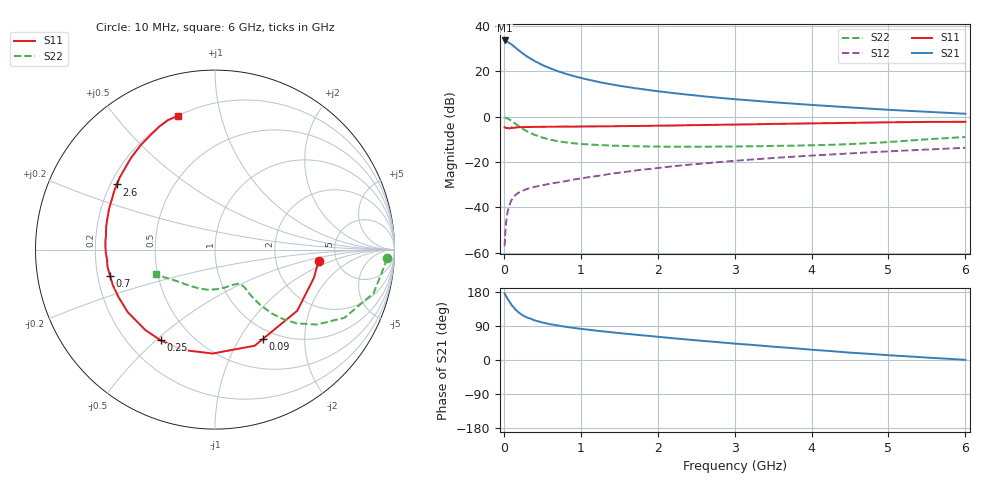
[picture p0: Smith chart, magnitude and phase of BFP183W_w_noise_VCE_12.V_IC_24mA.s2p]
! (c) 2017  Infineon Technologies AG, Munich
! Infineon Technologies  Discrete & RF Semiconductors
! BFP183W
! VCE =  12. V,  IC =  24 mA
! Common Emitter S-Parameters:  Jan 2017
# GHz  S  MA  R  50
!  f  S11  S21  S12  S22
! GHz  MAG  ANG  MAG  ANG  MAG  ANG  MAG  ANG
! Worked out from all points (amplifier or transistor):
!   77 points, 10 MHz to 6 GHz, reference 50 ohm
!   highest |S21| = 33.6 dB at 10 MHz (marker M1)
!   |S21| within 3 dB of that: start of sweep to 144.5 MHz
!   unconditionally stable (mu >= 1): 1.18 GHz to 3.623 GHz
!   at 130 MHz: K = 0.27, MSG = 33.2 dB, |S12| = -35.3 dB
!   at 2.2 GHz: K = 1.06, MAG = 14.6 dB, |S12| = -21.9 dB
!   at 6 GHz: K = 0.86, MSG = 7.5 dB, |S12| = -13.7 dB
!   lowest NFmin = 1.27 dB at 450 MHz
!   S11 on the Smith chart (normalised r, x): 10 MHz: 3.63, -0.69; 90 MHz: 0.87, -1.27; 250 MHz: 0.33, -0.52; 700 MHz: 0.25, -0.11; 2.6 GHz: 0.23, +0.29; 6 GHz: 0.20, +0.74
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0.01  0.5805 -6.2  48.01 175.7  0.0014 66.7  0.9597 -2.9
0.02  0.5732 -16.0  47.13 171.5  0.0029 71.5  0.9453 -6.2
0.05  0.5709 -36.7  44.74 160.9  0.0082 71.5  0.9164 -15.3
0.09  0.5645 -61.6  40.15 148.6  0.0133 65.4  0.832 -25.1
0.1  0.5794 -67.6  39.33 145.1  0.0146 64.5  0.8151 -27.8
0.15  0.5792 -91.3  33.41 133.3  0.0189 54.4  0.7035 -36.4
0.2  0.5877 -108.1  28.5 124.3  0.0216 51.4  0.6117 -42.2
0.25  0.5894 -120.9  24.52 117.4  0.0235 48.2  0.537 -45.8
0.3  0.5928 -130.8  21.34 112.3  0.0256 45.6  0.4779 -48.3
0.4  0.5982 -144.4  16.88 104.5  0.0284 45.0  0.3985 -50.7
0.5  0.599 -153.7  13.81 99.0  0.0307 46.0  0.3469 -51.7
0.6  0.6027 -160.8  11.71 94.6  0.0333 48.3  0.3126 -52.0
0.7  0.6026 -166.1  10.1 91.1  0.0356 49.7  0.2885 -51.9
0.9  0.604 -174.8  7.923 84.9  0.0411 51.6  0.2607 -52.3
1.1  0.6106 178.6  6.539 80.0  0.0465 55.0  0.2452 -53.0
1.5  0.6194 168.1  4.824 71.1  0.0582 56.6  0.228 -56.7
2.1  0.6368 155.4  3.485 59.4  0.0773 57.7  0.2188 -67.0
2.6  0.6559 146.4  2.815 50.2  0.0932 56.9  0.2183 -78.6
3.1  0.6749 138.3  2.364 41.8  0.1098 55.3  0.2216 -91.0
4.1  0.7172 124.1  1.776 25.7  0.1422 50.6  0.2369 -116.6
5.1  0.7557 113.4  1.392 11.4  0.1754 45.1  0.2841 -143.0
6  0.7731 105.4  1.163 0.4  0.2066 39.4  0.3575 -157.8
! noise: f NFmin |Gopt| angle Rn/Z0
0.45  1.27  0.23  176  0.1
0.9  1.29  0.27  178  0.09
1.9  1.78  0.43  -159  0.09
2.4  2.01  0.47  -154  0.13
